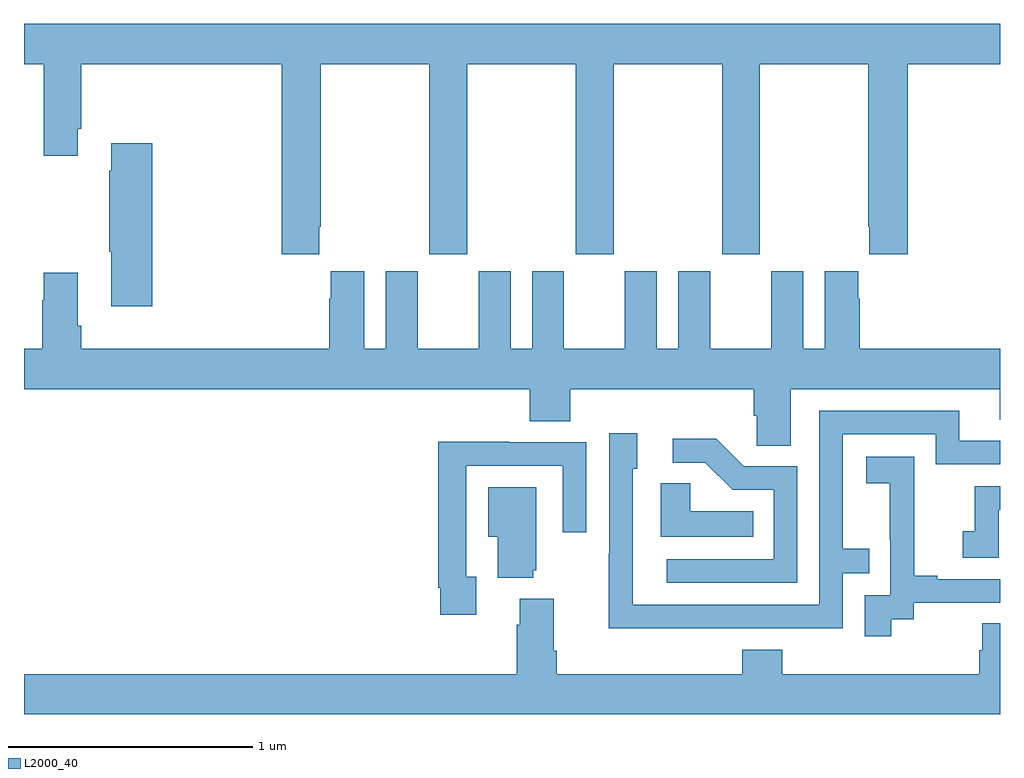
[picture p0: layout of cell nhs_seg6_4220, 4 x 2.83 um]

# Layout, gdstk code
import gdstk
lib = gdstk.Library(unit=1e-6, precision=1e-09)
def P(c, l, *ps):  # polygons
    for p in ps: c.add(gdstk.Polygon(p, *l))
L2000_40 = (2000, 40)

nhs_seg6_4220 = lib.new_cell('nhs_seg6_4220')
P(nhs_seg6_4220, L2000_40, [(360.211,982.633),(360.216,982.633),(360.216,983.3),(360.661,983.3),(360.661,982.521),(360.816,982.521),(360.816,983.3),(361.261,983.3),(361.261,982.521),(361.416,982.521),(361.416,983.3),(361.861,983.3),(361.861,982.521),(362.016,982.521),(362.016,983.3),(362.461,983.3),(362.461,982.633),(362.465,982.633),(362.465,982.521),(362.621,982.521),(362.621,983.3),(363,983.3),(363,983.464),(359,983.464),(359,983.3),(359.081,983.3),(359.081,982.923),(359.221,982.923),(359.221,983.035),(359.234,983.035),(359.234,983.3),(360.056,983.3),(360.056,982.521),(360.211,982.521)],
  [(359.525,982.975),(359.357,982.975),(359.357,982.862),(359.35,982.862),(359.35,982.531),(359.357,982.531),(359.357,982.308),(359.525,982.308)],
  [(361.073,981.835),(361.238,981.835),(361.238,981.968),(361.991,981.968),(361.991,981.859),(362.004,981.859),(362.004,981.736),(362.143,981.736),(362.143,981.968),(362.999,981.968),(362.999,981.841),(363,981.841),(363,982.132),(362.426,982.132),(362.426,982.337),(362.419,982.337),(362.419,982.45),(362.282,982.45),(362.282,982.132),(362.194,982.132),(362.194,982.45),(362.063,982.45),(362.063,982.132),(361.813,982.132),(361.813,982.45),(361.682,982.45),(361.682,982.132),(361.594,982.132),(361.594,982.45),(361.463,982.45),(361.463,982.132),(361.213,982.132),(361.213,982.45),(361.082,982.45),(361.082,982.132),(360.994,982.132),(360.994,982.45),(360.863,982.45),(360.863,982.132),(360.613,982.132),(360.613,982.45),(360.482,982.45),(360.482,982.132),(360.394,982.132),(360.394,982.45),(360.257,982.45),(360.257,982.337),(360.251,982.337),(360.251,982.132),(359.234,982.132),(359.234,982.228),(359.221,982.228),(359.221,982.444),(359.081,982.444),(359.081,982.331),(359.074,982.331),(359.074,982.132),(359,982.132),(359,981.968),(361.073,981.968)],
  [(361.859,980.988),(362.355,980.988),(362.355,981.213),(362.465,981.213),(362.465,981.314),(362.355,981.314),(362.355,981.783),(362.736,981.783),(362.736,981.66),(363,981.66),(363,981.756),(362.833,981.756),(362.833,981.879),(362.259,981.879),(362.259,981.084),(361.494,981.084),(361.494,981.642),(361.513,981.642),(361.513,981.787),(361.398,981.787),(361.398,981.293),(361.396,981.293),(361.396,980.987),(361.859,980.987)],
  [(362.169,981.651),(361.95,981.651),(361.837,981.764),(361.659,981.764),(361.659,981.666),(361.793,981.666),(361.904,981.555),(362.073,981.555),(362.073,981.27),(361.635,981.27),(361.635,981.174),(362.169,981.174)],
  [(360.853,981.198),(360.813,981.198),(360.813,981.654),(361.209,981.654),(361.209,981.381),(361.305,981.381),(361.305,981.75),(360.989,981.75),(360.989,981.752),(360.697,981.752),(360.697,981.154),(360.705,981.154),(360.705,981.042),(360.853,981.042)],
  [(362.554,981.025),(362.646,981.025),(362.646,981.093),(363,981.093),(363,981.189),(362.743,981.189),(362.743,981.202),(362.648,981.202),(362.648,981.485),(362.649,981.485),(362.649,981.691),(362.451,981.691),(362.451,981.581),(362.549,981.581),(362.549,981.353),(362.55,981.353),(362.55,981.123),(362.445,981.123),(362.445,980.955),(362.554,980.955)],
  [(361.988,981.466),(361.731,981.466),(361.731,981.581),(361.61,981.581),(361.61,981.362),(361.988,981.362)],
  [(362.994,981.474),(363,981.474),(363,981.57),(362.896,981.57),(362.896,981.385),(362.847,981.385),(362.847,981.276),(362.994,981.276)],
  [(361.088,981.225),(361.099,981.225),(361.099,981.565),(360.902,981.565),(360.902,981.362),(360.941,981.362),(360.941,981.194),(361.088,981.194)],
  [(363,981.008),(362.927,981.008),(362.927,980.898),(362.915,980.898),(362.915,980.8),(362.108,980.8),(362.108,980.899),(361.943,980.899),(361.943,980.8),(361.184,980.8),(361.184,980.896),(361.171,980.896),(361.171,981.109),(361.031,981.109),(361.031,981.002),(361.019,981.002),(361.019,980.8),(359,980.8),(359,980.636),(363,980.636)])

lib.write_gds('nhs_seg6_4220.gds')
